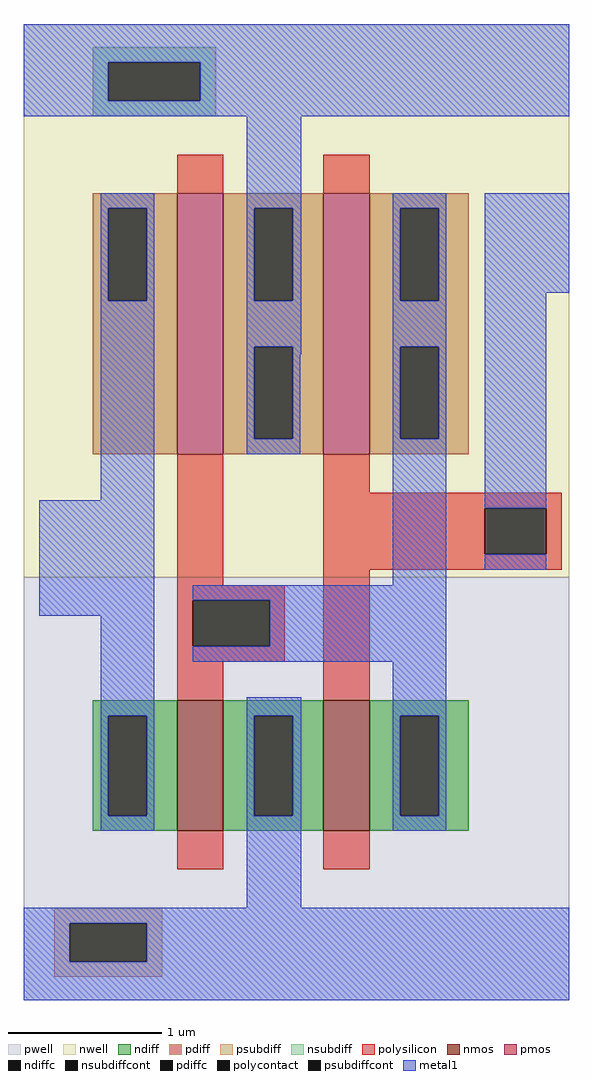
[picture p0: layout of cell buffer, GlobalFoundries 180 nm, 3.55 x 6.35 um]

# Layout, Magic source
magic
tech gf180mcuD
magscale 1 10
<< nwell >>
rect -260 300 450 1020
<< pwell >>
rect -260 -250 450 300
<< nmos >>
rect -60 -30 0 140
rect 130 -30 190 140
<< pmos >>
rect -60 460 0 800
rect 130 460 190 800
<< ndiff >>
rect -170 120 -60 140
rect -170 -10 -150 120
rect -100 -10 -60 120
rect -170 -30 -60 -10
rect 0 120 130 140
rect 0 -10 40 120
rect 90 -10 130 120
rect 0 -30 130 -10
rect 190 120 319 140
rect 190 -10 230 120
rect 280 -10 319 120
rect 190 -30 319 -10
<< pdiff >>
rect -170 780 -60 800
rect -170 660 -150 780
rect -100 660 -60 780
rect -170 460 -60 660
rect 0 780 130 800
rect 0 660 40 780
rect 90 660 130 780
rect 0 600 130 660
rect 0 480 40 600
rect 90 480 130 600
rect 0 460 130 480
rect 190 780 319 800
rect 190 660 230 780
rect 280 660 319 780
rect 190 600 319 660
rect 190 480 230 600
rect 280 480 319 600
rect 190 460 319 480
<< ndiffc >>
rect -150 -10 -100 120
rect 40 -10 90 120
rect 230 -10 280 120
<< pdiffc >>
rect -150 660 -100 780
rect 40 660 90 780
rect 40 480 90 600
rect 230 660 280 780
rect 230 480 280 600
<< psubdiff >>
rect -220 -150 -80 -130
rect -220 -200 -200 -150
rect -100 -200 -80 -150
rect -220 -220 -80 -200
<< nsubdiff >>
rect -170 970 -10 990
rect -170 920 -150 970
rect -30 920 -10 970
rect -170 900 -10 920
<< psubdiffcont >>
rect -200 -200 -100 -150
<< nsubdiffcont >>
rect -150 920 -30 970
<< polysilicon >>
rect -60 800 0 850
rect 130 800 190 850
rect -60 290 0 460
rect 130 410 190 460
rect 130 390 440 410
rect 130 330 340 390
rect 420 330 440 390
rect 130 310 440 330
rect -60 270 80 290
rect -60 210 -40 270
rect 60 210 80 270
rect -60 190 80 210
rect -60 140 0 190
rect 130 140 190 310
rect -60 -80 0 -30
rect 130 -80 190 -30
<< polycontact >>
rect 340 330 420 390
rect -40 210 60 270
<< metal1 >>
rect -260 970 450 1020
rect -260 920 -150 970
rect -30 920 450 970
rect -260 900 450 920
rect -160 780 -90 800
rect -160 660 -150 780
rect -100 660 -90 780
rect -160 400 -90 660
rect 30 780 101 900
rect 30 660 40 780
rect 90 660 101 780
rect 30 600 101 660
rect 30 480 40 600
rect 90 590 101 600
rect 220 780 290 800
rect 220 660 230 780
rect 280 660 290 780
rect 220 600 290 660
rect 90 480 100 590
rect 30 460 100 480
rect 220 480 230 600
rect 280 480 290 600
rect -240 250 -90 400
rect 220 290 290 480
rect 340 670 450 800
rect 340 390 420 670
rect 340 310 420 330
rect -160 120 -90 250
rect -40 270 290 290
rect 60 210 290 270
rect -40 190 290 210
rect -160 -10 -150 120
rect -100 -10 -90 120
rect -160 -30 -90 -10
rect 30 120 101 144
rect 30 -10 40 120
rect 90 -10 101 120
rect 30 -130 101 -10
rect 220 120 290 190
rect 220 -10 230 120
rect 280 -10 290 120
rect 220 -30 290 -10
rect -260 -150 450 -130
rect -260 -200 -200 -150
rect -100 -200 450 -150
rect -260 -250 450 -200
<< end >>
